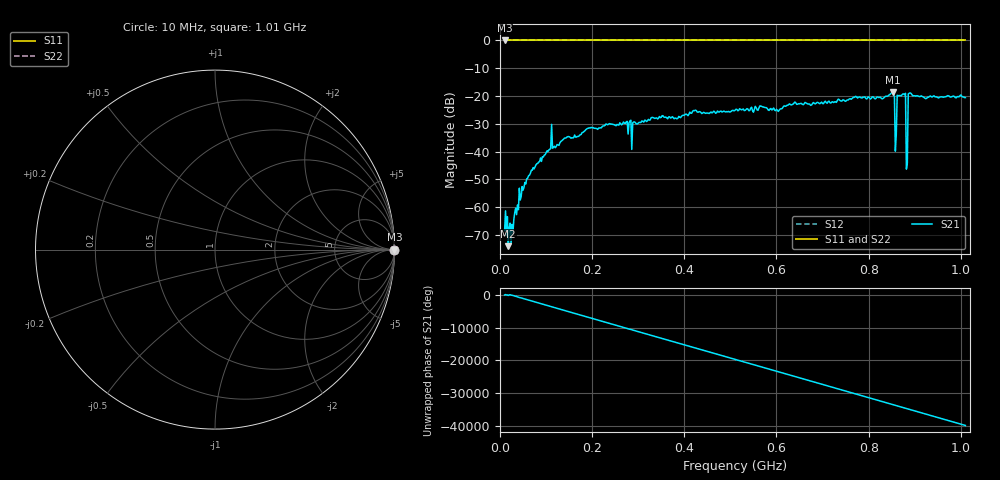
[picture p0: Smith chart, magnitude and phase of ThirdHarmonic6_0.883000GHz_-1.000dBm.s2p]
! 8/16/2025 5:04:39 AM
! C:\ANRITSUVNA\TEMP\TEMP.S2P
! CHANNEL.1
! TR.MEASUREMENT
! RAW.DATA
! RF.CORRECTION.OFF
! AVERAGING.OFF
! IF.BANDWIDTH: 5KHZ
! SWEEPTYPE:  FREQ.SWEEP(Linear)
! Reference Plane Port Info
! PORT:  PORT1  PORT2
! DISTANCE:  0  m  0  m
! TIME:  0  s  0  s
! PHASE.OFFSET:  0  deg.  0  deg.
! LOSS:  0  dB  0  dB
! REF.LOSS:  0  dB  0  dB
! REF.FREQ:  0  Hz  0  Hz
! Power Info
! POWER:  -20  dBm  -20  dBm
! EFF.POWER:  -20  dBm  -20  dBm
! SOURCE.ATTEN:  0  dB  0  dB
! TEST.ATTEN:  0  dB  0  dB
# GHZ S RI R 50.0
! FREQ.GHZ  S11RE  S11IM  S21RE  S21IM  S12RE  S12IM  S22RE  S22IM
!; PortSelection: Port_12
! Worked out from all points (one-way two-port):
!   501 points, 10 MHz to 1.01 GHz, reference 50 ohm
!   highest |S21| = -18.70 dB at 852 MHz (marker M1); lowest = -74.0 dB at 18 MHz (marker M2)
!   lowest |S11| = 0.0 dB at 10 MHz (marker M3)
!   |S11| at or under -10 dB: nowhere
!   |S22| runs from 0.0 to 0.0 dB; largest |S21 - S12| = 1.1
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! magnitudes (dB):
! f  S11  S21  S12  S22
! 10 MHz  0.0  -68.4  0.0  0.0
! 18 MHz  0.0  -74.0  0.0  0.0
! 28 MHz  0.0  -69.2  0.0  0.0
! 46 MHz  0.0  -56.1  0.0  0.0
! 58 MHz  0.0  -49.7  0.0  0.0
! 108 MHz  0.0  -39.2  0.0  0.0
! 178 MHz  0.0  -33.2  0.0  0.0
! 282 MHz  0.0  -28.9  0.0  0.0
! 344 MHz  0.0  -27.9  0.0  0.0
! 510 MHz  0.0  -25.1  0.0  0.0
! 678 MHz  0.0  -22.8  0.0  0.0
! 844 MHz  0.0  -19.7  0.0  0.0
! 852 MHz  0.0  -18.7  0.0  0.0
! 856 MHz  0.0  -20.3  0.0  0.0
! 860 MHz  0.0  -33.9  0.0  0.0
! 862 MHz  0.0  -19.7  0.0  0.0
! 866 MHz  0.0  -19.9  0.0  0.0
! 876 MHz  0.0  -19.2  0.0  0.0
! 880 MHz  0.0  -19.0  0.0  0.0
! 886 MHz  0.0  -19.3  0.0  0.0
! 890 MHz  0.0  -18.9  0.0  0.0
! 1.01 GHz  0.0  -20.6  0.0  0.0
